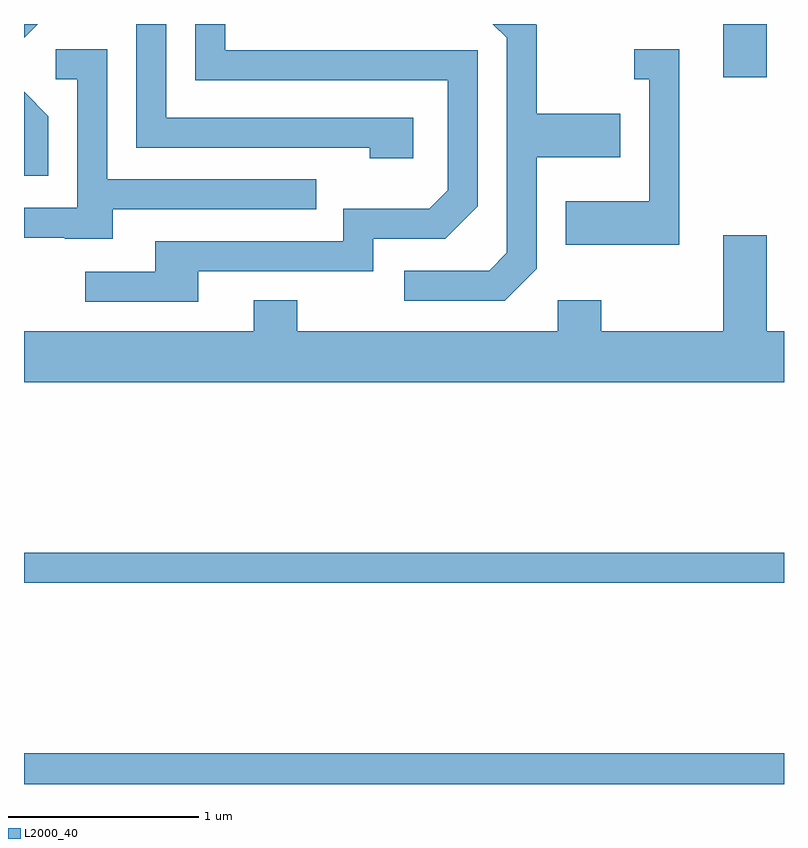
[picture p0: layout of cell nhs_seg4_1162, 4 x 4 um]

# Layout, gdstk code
import gdstk
lib = gdstk.Library(unit=1e-6, precision=1e-09)
def R(c, l, rs):  # rectangles x0, y0, x1, y1
    for r in rs: c.add(gdstk.rectangle(r[:2], r[2:], *l))
def P(c, l, *ps):  # polygons
    for p in ps: c.add(gdstk.Polygon(p, *l))
L2000_40 = (2000, 40)

nhs_seg4_1162 = lib.new_cell('nhs_seg4_1162')
R(nhs_seg4_1162, L2000_40, [(219.611,1265.982,223.611,1266.144), (219.611,1267.041,223.611,1267.199), (223.291,1269.701,223.519,1269.982)])
P(nhs_seg4_1162, L2000_40, [(222.309,1268.694),(222.309,1269.281),(222.749,1269.281),(222.749,1269.509),(222.309,1269.509),(222.309,1269.977),(222.304,1269.982),(222.078,1269.982),(222.151,1269.909),(222.151,1268.777),(222.059,1268.684),(221.613,1268.684),(221.613,1268.526),(222.142,1268.526)],
  [(220.529,1268.681),(221.449,1268.681),(221.449,1268.851),(221.827,1268.851),(221.999,1269.024),(221.999,1269.844),(220.669,1269.844),(220.669,1269.982),(220.511,1269.982),(220.511,1269.686),(221.841,1269.686),(221.841,1269.107),(221.744,1269.009),(221.291,1269.009),(221.291,1268.839),(220.301,1268.839),(220.301,1268.679),(219.933,1268.679),(219.933,1268.521),(220.529,1268.521)],
  [(219.683,1269.982),(219.611,1269.982),(219.611,1269.91)],
  [(221.659,1269.489),(220.359,1269.489),(220.359,1269.982),(220.201,1269.982),(220.201,1269.331),(221.431,1269.331),(221.431,1269.276),(221.659,1269.276)],
  [(220.079,1269.006),(221.148,1269.006),(221.148,1269.164),(220.049,1269.164),(220.049,1269.849),(219.778,1269.849),(219.778,1269.691),(219.891,1269.691),(219.891,1269.014),(219.611,1269.014),(219.611,1268.856),(219.825,1268.856),(219.825,1268.851),(220.079,1268.851)],
  [(223.059,1269.849),(222.823,1269.849),(222.823,1269.691),(222.901,1269.691),(222.901,1269.049),(222.461,1269.049),(222.461,1268.821),(223.059,1268.821)],
  [(219.739,1269.497),(219.611,1269.625),(219.611,1269.183),(219.739,1269.183)],
  [(223.611,1268.364),(223.519,1268.364),(223.519,1268.869),(223.291,1268.869),(223.291,1268.364),(222.649,1268.364),(222.649,1268.529),(222.421,1268.529),(222.421,1268.364),(221.049,1268.364),(221.049,1268.529),(220.821,1268.529),(220.821,1268.364),(219.611,1268.364),(219.611,1268.096),(223.611,1268.096)])

lib.write_gds('nhs_seg4_1162.gds')
